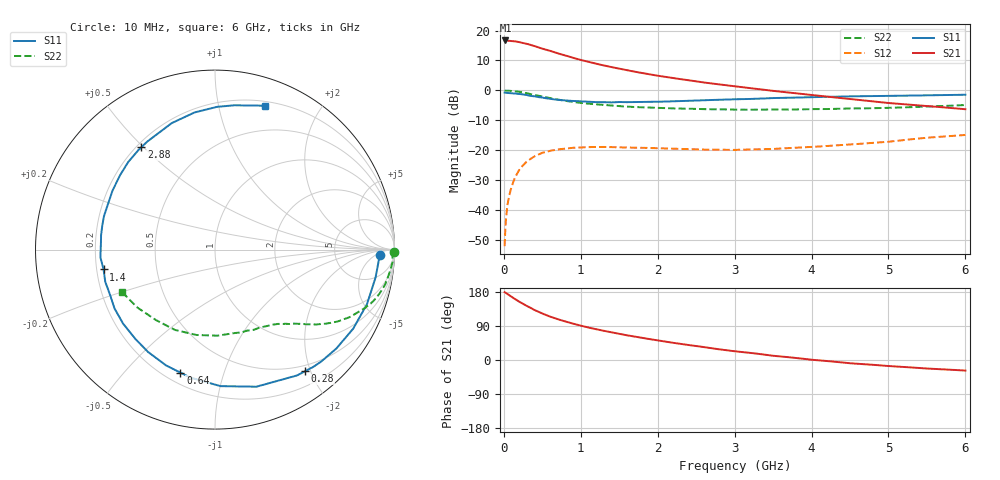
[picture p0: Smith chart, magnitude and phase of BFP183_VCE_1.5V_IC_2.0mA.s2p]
! Infineon Technologies  Discrete & RF Semiconductors
! BFP183
! VCE = 1.5 V,  IC =  2.0 mA
! Common Emitter S-Parameters:  Jan 2016
# GHz  S  MA  R  50
!  f  S11  S21  S12  S22
! GHz  MAG  ANG  MAG  ANG  MAG  ANG  MAG  ANG
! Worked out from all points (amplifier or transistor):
!   210 points, 10 MHz to 6 GHz, reference 50 ohm
!   highest |S21| = 16.7 dB at 20 MHz (marker M1)
!   |S21| within 3 dB of that: start of sweep to 535.5 MHz
!   unconditionally stable (mu >= 1): 2.049 GHz to end of sweep
!   at 185 MHz: K = 0.10, MSG = 21.7 dB, |S12| = -27.2 dB
!   at 1.52 GHz: K = 0.74, MSG = 13.1 dB, |S12| = -19.0 dB
!   at 6 GHz: K = 1.01, MAG = 3.8 dB, |S12| = -14.9 dB
!   S11 on the Smith chart (normalised r, x): 10 MHz: 20, -8; 280 MHz: 0.41, -1.92; 640 MHz: 0.26, -0.72; 1.4 GHz: 0.23, -0.08; 2.88 GHz: 0.22, +0.49; 6 GHz: 0.24, +1.37
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0.01  0.918 -2.0  6.768 179.0  0.0025 82.3  0.9979 -0.7
0.02  0.9138 -4.2  6.831 178.0  0.005 91.3  0.9891 -1.6
0.035  0.9096 -7.1  6.803 175.7  0.0089 87.6  0.9902 -2.8
0.06  0.904 -11.9  6.748 172.1  0.0151 83.8  0.9892 -4.7
0.15  0.8871 -29.8  6.599 160.2  0.0361 73.2  0.9676 -11.7
0.2  0.8722 -39.2  6.411 153.9  0.0468 67.5  0.9482 -15.1
0.28  0.8434 -53.4  6.085 144.7  0.0616 60.0  0.9065 -20.2
0.4  0.7979 -73.2  5.501 131.7  0.0793 50.2  0.8409 -26.5
0.5  0.7613 -87.7  4.981 122.5  0.0906 43.1  0.7906 -30.5
0.64  0.7122 -105.7  4.417 112.0  0.1001 35.4  0.7271 -34.7
0.7  0.7005 -112.9  4.162 107.6  0.1033 32.4  0.7027 -36.4
0.8  0.6817 -123.1  3.838 101.3  0.1067 28.2  0.6689 -38.5
1.02  0.6546 -142.9  3.179 89.6  0.1119 21.3  0.6148 -42.2
1.2  0.6368 -156.7  2.789 81.2  0.1137 16.6  0.5851 -45.1
1.4  0.6306 -169.9  2.451 72.9  0.1132 13.2  0.5582 -48.0
1.6  0.6361 178.0  2.182 65.2  0.1115 10.8  0.5375 -50.6
2.02  0.6478 157.5  1.744 51.1  0.1079 8.4  0.5103 -57.1
2.88  0.7025 125.7  1.224 26.2  0.1018 10.5  0.4812 -74.0
3.1  0.7143 119.3  1.132 21.0  0.1022 12.3  0.4765 -79.1
4.1  0.7758 96.5  0.813 -0.9  0.1156 19.6  0.4869 -105.1
5.1  0.8136 81.1  0.602 -17.1  0.1435 22.9  0.5158 -132.9
6  0.8472 71.0  0.485 -27.9  0.1803 18.1  0.5702 -155.7
